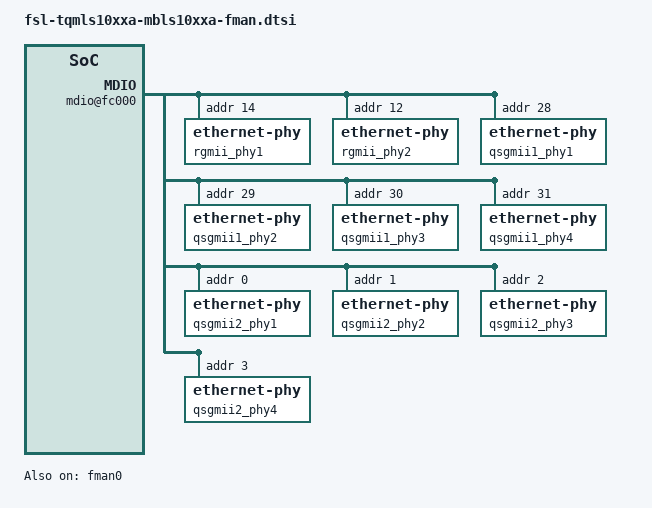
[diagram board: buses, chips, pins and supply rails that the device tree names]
// SPDX-License-Identifier: (GPL-2.0+ OR MIT)
/*
 * Device Tree Include file for MBLS10xxA from TQ (FMAN related sections)
 *
 * Copyright 2019 TQ-Systems GmbH
 */

#include <dt-bindings/net/ti-dp83867.h>

&fman0 {
	status = "okay";

	ethernet@e0000 { /* EMAC.1 */
		phy-connection-type = "sgmii";

	};

	ethernet@e2000 { /* EMAC.2 */
		phy-connection-type = "sgmii";
	};

	ethernet@e4000 { /* EMAC.3 */
		phy-handle = <&rgmii_phy1>;
		phy-connection-type = "rgmii";
		phy-mode = "rgmii-id";
	};

	ethernet@e6000 { /* EMAC.4 */
		phy-handle = <&rgmii_phy2>;
		phy-connection-type = "rgmii";
		phy-mode = "rgmii-id";
	};

	ethernet@e8000 { /* EMAC.5 */
		phy-connection-type = "sgmii";
	};

	ethernet@ea000 { /* EMAC.6 */
		phy-connection-type = "sgmii";
	};

	ethernet@f0000 { /* EMAC.9 */
		phy-connection-type = "sgmii";
	};

	ethernet@f2000 { /* EMAC.10 */
		phy-connection-type = "sgmii";
	};

	mdio@fc000 {
		rgmii_phy1: ethernet-phy@0e {
			reg = <0x0e>;
			ti,rx-internal-delay = <DP83867_RGMIIDCTL_1_50_NS>;
			ti,tx-internal-delay = <DP83867_RGMIIDCTL_1_50_NS>;
			ti,fifo-depth = <DP83867_PHYCR_FIFO_DEPTH_8_B_NIB>;
		};

		rgmii_phy2: ethernet-phy@0c {
			reg = <0x0c>;
			ti,rx-internal-delay = <DP83867_RGMIIDCTL_1_50_NS>;
			ti,tx-internal-delay = <DP83867_RGMIIDCTL_1_50_NS>;
			ti,fifo-depth = <DP83867_PHYCR_FIFO_DEPTH_8_B_NIB>;
		};

		qsgmii1_phy1: ethernet-phy@1c {
			reg = <0x1c>;
		};

		qsgmii1_phy2: ethernet-phy@1d {
			reg = <0x1d>;
		};

		qsgmii1_phy3: ethernet-phy@1e {
			reg = <0x1e>;
		};

		qsgmii1_phy4: ethernet-phy@1f {
			reg = <0x1f>;
		};

		qsgmii2_phy1: ethernet-phy@00 {
			reg = <0x00>;
		};

		qsgmii2_phy2: ethernet-phy@01 {
			reg = <0x01>;
		};

		qsgmii2_phy3: ethernet-phy@02 {
			reg = <0x02>;
		};

		qsgmii2_phy4: ethernet-phy@03 {
			reg = <0x03>;
		};
	};
};

